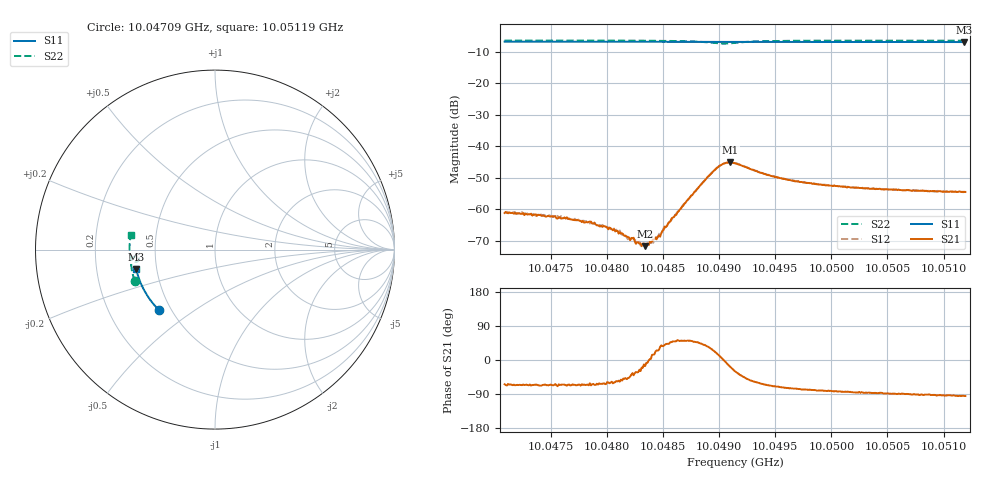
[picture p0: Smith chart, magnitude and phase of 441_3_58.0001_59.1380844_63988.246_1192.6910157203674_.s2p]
#  HZ  S  RI  R  50.00
! Rohde & Schwarz Vector Network Analyzer
! Rohde-Schwarz,ZNB20-2Port,1311601062101988,3.16
! Created: UTC 3/21/2024, 1:10:04 AM
! freq[Hz]  re:S11  im:S11  re:S21  im:S21  re:S12  im:S12  re:S22  im:S22
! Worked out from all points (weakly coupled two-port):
!   401 points, 10.04709 GHz to 10.05119 GHz, reference 50 ohm
!   highest |S21| = -45.18 dB at 10.0491 GHz (marker M1); lowest = -71.8 dB at 10.04834 GHz (marker M2)
!   lowest |S11| = -6.9 dB at 10.05118 GHz (marker M3), VSWR 2.65, Z = 19.1 - j5.15 ohm
!   |S11| at or under -10 dB: nowhere
!   |S22| runs from -7.4 to -6.4 dB; largest |S21 - S12| = 0.00039
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1.0047088e10  -0.3102 -0.3385  0.000381 -0.000779  0.000447 -0.000779  -0.4466 -0.1749
1.0047519e10  -0.3298 -0.3182  0.000299 -0.000697  0.000363 -0.000692  -0.4557 -0.1469
1.0047776e10  -0.3411 -0.3054  0.000271 -0.00056  0.000332 -0.000552  -0.4603 -0.1295
1.0047868e10  -0.345 -0.3008  0.000259 -0.00053  0.000309 -0.000521  -0.4617 -0.1232
1.004792e10  -0.347 -0.2982  0.000237 -0.000503  0.000282 -0.000501  -0.4624 -0.1195
1.0047981e10  -0.3496 -0.2949  0.000242 -0.000475  0.00032 -0.000454  -0.4634 -0.1152
1.0048104e10  -0.3547 -0.2886  0.000236 -0.000332  0.000266 -0.000355  -0.465 -0.1063
1.0048197e10  -0.3584 -0.2838  0.000242 -0.000257  0.000243 -0.000243  -0.4659 -0.0996
1.0048269e10  -0.3611 -0.2799  0.00025 -0.00016  0.000281 -0.000176  -0.4666 -0.0939
1.0048341e10  -0.3639 -0.2761  0.000247 -7.13e-05  0.000263 -5.72e-05  -0.467 -0.0883
1.0048412e10  -0.3666 -0.2723  0.000319 8.13e-05  0.000284 6.63e-05  -0.4673 -0.0825
1.0048464e10  -0.3686 -0.2693  0.000338 0.000172  0.000333 0.000215  -0.4675 -0.0781
1.0048566e10  -0.3723 -0.2638  0.000436 0.000471  0.000441 0.000474  -0.4668 -0.0689
1.0048915e10  -0.3843 -0.2442  0.00294 0.00183  0.00285 0.00203  -0.4433 -0.0367
1.0049018e10  -0.3874 -0.2385  0.00498 0.000561  0.00498 0.000919  -0.4258 -0.0451
1.00491e10  -0.39 -0.2339  0.00521 -0.00178  0.00535 -0.00141  -0.4274 -0.0626
1.0049141e10  -0.3914 -0.2317  0.00465 -0.00266  0.00485 -0.00236  -0.4341 -0.0677
1.004948e10  -0.4022 -0.2123  0.00118 -0.0031  0.00142 -0.00302  -0.4691 -0.0451
1.0049829e10  -0.4119 -0.1915  0.000473 -0.00247  0.000599 -0.00249  -0.4752 -0.0154
1.0050517e10  -0.4278 -0.1492  3.95e-05 -0.00206  0.000167 -0.00204  -0.4752 0.0342
1.0051184e10  -0.4392 -0.1072  -0.000163 -0.00187  -3.09e-05 -0.00188  -0.4696 0.0791
1.0051194e10  -0.4394 -0.1065  -0.000166 -0.00187  -5.71e-05 -0.00186  -0.4695 0.0797
